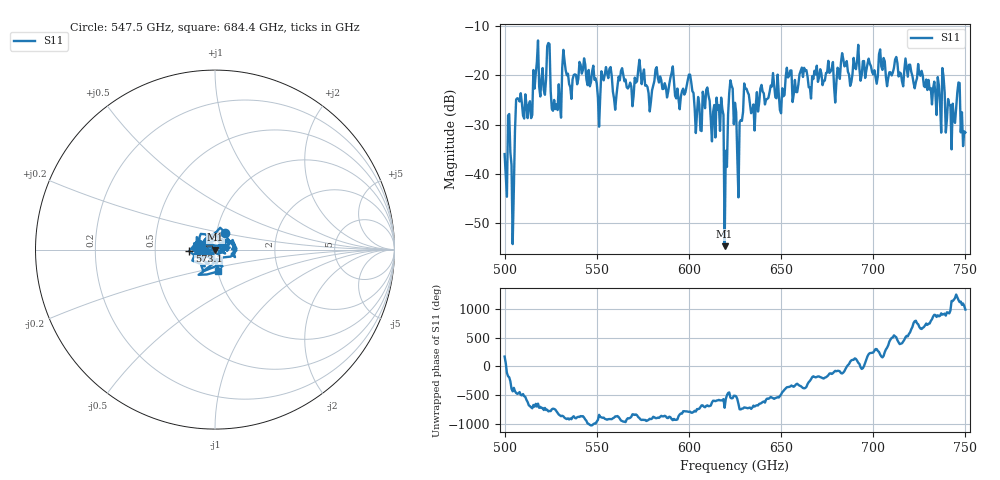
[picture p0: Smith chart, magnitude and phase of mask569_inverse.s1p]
!Created with skrf (http://scikit-rf.org).
# GHz S MA R 50.0
!freq magS11 angS11
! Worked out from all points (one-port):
!   401 points, 500 GHz to 750 GHz, reference 50 ohm
!   lowest |S11| = -54.6 dB at 619.4 GHz (marker M1), VSWR 1.00, Z = 50.2 + j0.00528 ohm
!   |S11| at or under -10 dB: start of sweep to end of sweep
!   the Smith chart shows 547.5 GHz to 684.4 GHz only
!   S11 on the Smith chart (normalised r, x): 547.5 GHz: 1.10, +0.21; 573.1 GHz: 0.75, -0.01; 684.4 GHz: 1.00, -0.25
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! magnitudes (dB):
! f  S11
! 500 GHz  -36.0
! 502.5 GHz  -27.8
! 504.4 GHz  -54.2
! 507.5 GHz  -24.8
! 513.8 GHz  -25.2
! 516.9 GHz  -19.7
! 523.8 GHz  -13.5
! 526.9 GHz  -25.0
! 531.2 GHz  -18.5
! 547.5 GHz  -19.1
! 562.5 GHz  -21.0
! 573.1 GHz  -16.9
! 593.8 GHz  -22.7
! 616.2 GHz  -26.1
! 619.4 GHz  -54.6
! 620.6 GHz  -38.6
! 622.5 GHz  -21.0
! 625 GHz  -25.6
! 627.5 GHz  -29.5
! 631.2 GHz  -22.7
! 635 GHz  -25.9
! 656.2 GHz  -25.4
! 684.4 GHz  -18.2
! 687.5 GHz  -22.1
! 718.8 GHz  -20.3
! 743.1 GHz  -25.8
! 745.6 GHz  -23.5
! 750 GHz  -31.6
